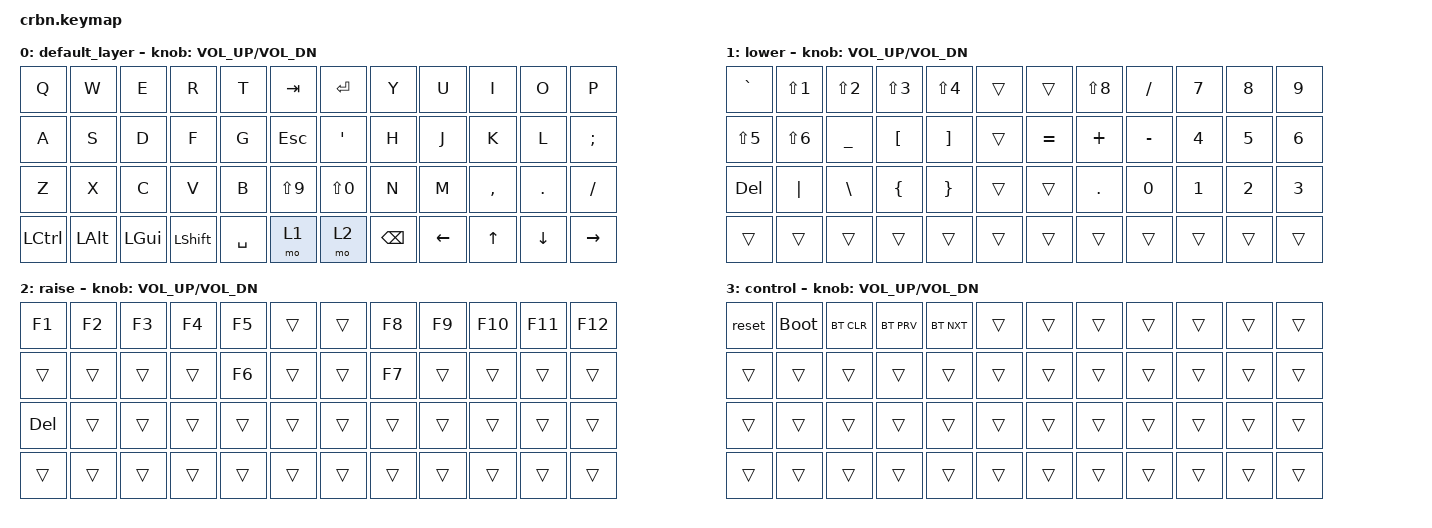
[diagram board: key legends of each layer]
/*
	* Copyright (c) 2020 The ZMK Contributors
 *
 * SPDX-License-Identifier: MIT
 */

#include <behaviors.dtsi>
#include <dt-bindings/zmk/keys.h>
#include <dt-bindings/zmk/bt.h>

/ {
	keymap {
		compatible = "zmk,keymap";

		default_layer {
      bindings = <
				&kp Q &kp W &kp E &kp R &kp T &kp TAB &kp RET &kp Y &kp U &kp I &kp O &kp P
        &kp A &kp S &kp D &kp F &kp G &kp ESC &kp SQT &kp H &kp J &kp K &kp L &kp SEMI
        &kp Z &kp X &kp C &kp V &kp B &kp LS(N9) &kp LS(N0) &kp N &kp M &kp COMMA &kp DOT &kp FSLH
        &kp LCTL &kp LALT &kp LGUI &kp LSHFT &kp SPACE &mo 1 &mo 2 &kp BSPC &kp LEFT &kp UP &kp DOWN &kp RIGHT
			>;
   sensor-bindings = <&inc_dec_kp C_VOL_UP C_VOL_DN>;
	 };

    lower {
			bindings = <
				&kp GRAVE &kp LS(N1) &kp LS(N2) &kp LS(N3) &kp LS(N4) &trans &trans &kp LS(N8) &kp FSLH &kp N7 &kp N8 &kp N9
         &kp LS(N5) &kp LS(N6) &kp UNDER &kp LBKT &kp RBKT &trans &kp EQUAL &kp PLUS &kp MINUS &kp N4 &kp N5 &kp N6
         &kp DEL &kp PIPE &kp BSLH &kp LBRC &kp RBRC &trans &trans &kp DOT &kp N0 &kp N1 &kp N2 &kp N3
         &trans &trans &trans &trans &trans &trans &trans &trans &trans &trans &trans &trans
			>;
   sensor-bindings = <&inc_dec_kp C_VOL_UP C_VOL_DN>;
		};

    raise {
			bindings = <
				&kp F1 &kp F2 &kp F3 &kp F4 &kp F5 &trans &trans  &kp F8 &kp F9 &kp F10 &kp F11 &kp F12
        &trans &trans &trans &trans  &kp F6 &trans &trans  &kp F7 &trans &trans &trans &trans
         &kp DEL &trans &trans &trans &trans &trans &trans &trans &trans &trans &trans &trans
        &trans &trans &trans &trans &trans &trans &trans &trans &trans &trans &trans &trans
			>;
   sensor-bindings = <&inc_dec_kp C_VOL_UP C_VOL_DN>;
		};

		control {
			bindings = <
				&reset &bootloader &bt BT_CLR &bt BT_PRV &bt BT_NXT &trans &trans &trans &trans &trans &trans &trans
				&trans &trans &trans &trans &trans &trans &trans &trans &trans &trans &trans &trans
				&trans &trans &trans &trans &trans &trans &trans &trans &trans &trans &trans &trans
				&trans &trans &trans &trans &trans &trans &trans &trans &trans &trans &trans &trans
			>;
   sensor-bindings = <&inc_dec_kp C_VOL_UP C_VOL_DN>;
		};
	};
};
